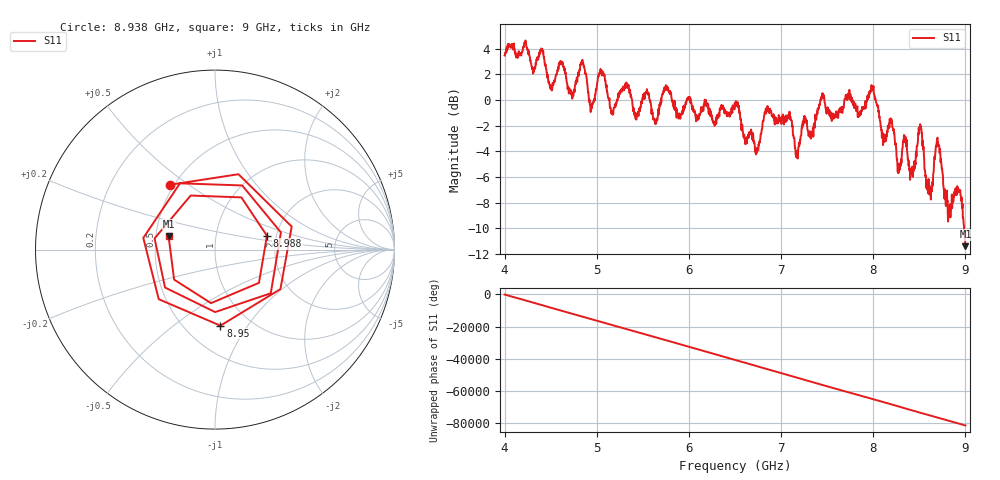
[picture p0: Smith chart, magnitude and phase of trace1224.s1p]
! Created with skrf 1.8.0 (http://scikit-rf.org).
# Hz S RI R 50.0
!freq ReS11 ImS11
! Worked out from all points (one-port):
!   1601 points, 4 GHz to 9 GHz, reference 50 ohm
!   lowest |S11| = -11.4 dB at 9 GHz (marker M1), VSWR 1.74, Z = 29.1 + j4.76 ohm
!   |S11| at or under -10 dB: 8.985419 GHz to end of sweep
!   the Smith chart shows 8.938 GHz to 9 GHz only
!   S11 on the Smith chart (normalised r, x): 8.938 GHz: 0.48, +0.43; 8.95 GHz: 0.73, -0.76; 8.988 GHz: 1.78, +0.30; 9 GHz: 0.58, +0.10
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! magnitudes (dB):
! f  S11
! 4 GHz  3.5
! 4.506 GHz  0.8
! 4.625 GHz  2.8
! 4.734 GHz  0.1
! 4.847 GHz  2.9
! 4.941 GHz  -0.6
! 5.047 GHz  2.2
! 5.166 GHz  -0.9
! 5.25 GHz  0.7
! 5.875 GHz  -1.1
! 6.5 GHz  -0.3
! 6.734 GHz  -4.0
! 6.856 GHz  -0.8
! 7.125 GHz  -2.0
! 7.175 GHz  -3.9
! 7.444 GHz  0.4
! 7.75 GHz  0.3
! 7.991 GHz  0.9
! 8.278 GHz  -5.6
! 8.375 GHz  -4.6
! 8.512 GHz  -2.0
! 8.6 GHz  -6.1
! 8.7 GHz  -3.6
! 8.822 GHz  -9.1
! 8.938 GHz  -7.2
! 8.95 GHz  -7.4
! 8.988 GHz  -10.5
! 9 GHz  -11.4
